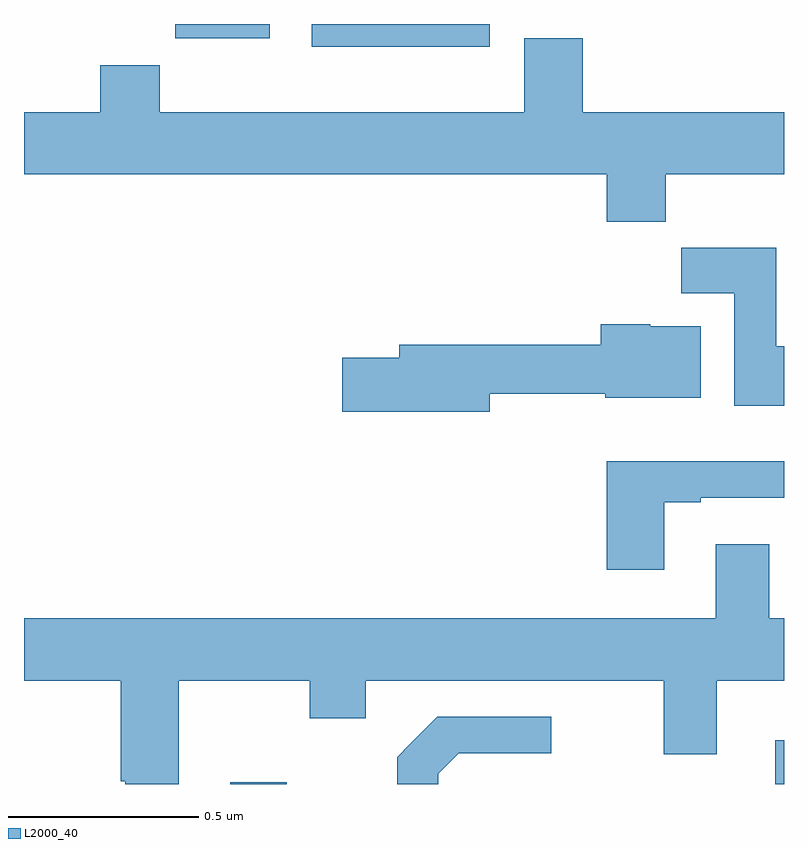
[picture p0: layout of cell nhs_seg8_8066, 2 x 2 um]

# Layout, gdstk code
import gdstk
lib = gdstk.Library(unit=1e-6, precision=1e-09)
def R(c, l, rs):  # rectangles x0, y0, x1, y1
    for r in rs: c.add(gdstk.rectangle(r[:2], r[2:], *l))
def P(c, l, *ps):  # polygons
    for p in ps: c.add(gdstk.Polygon(p, *l))
L2000_40 = (2000, 40)

nhs_seg8_8066 = lib.new_cell('nhs_seg8_8066')
R(nhs_seg8_8066, L2000_40, [(218.543,1110.9,218.692,1110.904), (219.977,1110.9,220,1111.015), (218.757,1112.84,219.226,1112.9), (218.398,1112.862,218.647,1112.9)])
P(nhs_seg8_8066, L2000_40, [(219.689,1112.504),(220,1112.504),(220,1112.668),(219.47,1112.668),(219.47,1112.863),(219.317,1112.863),(219.317,1112.668),(218.357,1112.668),(218.357,1112.792),(218.201,1112.792),(218.201,1112.668),(218,1112.668),(218,1112.504),(219.533,1112.504),(219.533,1112.38),(219.689,1112.38)],
  [(220,1112.052),(219.979,1112.052),(219.979,1112.311),(219.73,1112.311),(219.73,1112.192),(219.869,1112.192),(219.869,1111.896),(220,1111.896)],
  [(219.226,1111.927),(219.53,1111.927),(219.53,1111.916),(219.781,1111.916),(219.781,1112.104),(219.648,1112.104),(219.648,1112.11),(219.518,1112.11),(219.518,1112.056),(218.987,1112.056),(218.987,1112.022),(218.838,1112.022),(218.838,1111.88),(219.226,1111.88)],
  [(219.685,1111.641),(219.781,1111.641),(219.781,1111.653),(220,1111.653),(220,1111.75),(219.533,1111.75),(219.533,1111.464),(219.685,1111.464)],
  [(218,1111.172),(218.255,1111.172),(218.255,1110.907),(218.267,1110.907),(218.267,1110.9),(218.407,1110.9),(218.407,1111.172),(218.752,1111.172),(218.752,1111.073),(218.899,1111.073),(218.899,1111.172),(219.683,1111.172),(219.683,1110.978),(219.823,1110.978),(219.823,1111.172),(220,1111.172),(220,1111.336),(219.961,1111.336),(219.961,1111.531),(219.821,1111.531),(219.821,1111.336),(218,1111.336)],
  [(219.09,1110.927),(219.144,1110.981),(219.388,1110.981),(219.388,1111.077),(219.087,1111.077),(219.015,1111.005),(218.982,1110.971),(218.982,1110.9),(219.09,1110.9)])

lib.write_gds('nhs_seg8_8066.gds')
